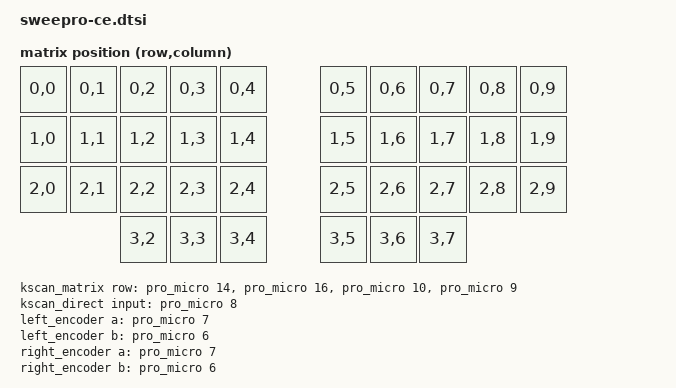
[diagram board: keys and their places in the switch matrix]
/*
 * Copyright (c) 2020 The ZMK Contributors
 *
 * SPDX-License-Identifier: MIT
 */

#include <dt-bindings/zmk/matrix_transform.h>

/ {

	chosen: chosen {
		zmk,battery = &vbatt;
		zmk,kscan = &kscan;
		zmk,matrix_transform = &default_transform;
    zephyr,display = &shield_epd;
	};

	default_transform: keymap_transform_0 {
		compatible = "zmk,matrix-transform";
		columns = <10>;
		rows = <4>;
// | SW1  | SW2  | SW3  | SW4  | SW5  |  | SW5  | SW4  | SW3  | SW2  | SW1  |
// | SW6  | SW7  | SW8  | SW9  | SW10 |  | SW10 | SW9  | SW8  | SW7  | SW6  |
// | SW11 | SW12 | SW13 | SW14 | SW15 |  | SW15 | SW14 | SW13 | SW12 | SW11 |
//               | SW16 | SW17 | SW18 |  | SW18 | SW17 | SW16 |
		map = <
RC(0,0) RC(0,1) RC(0,2) RC(0,3) RC(0,4)  RC(0,5) RC(0,6) RC(0,7) RC(0,8) RC(0,9)
RC(1,0) RC(1,1) RC(1,2) RC(1,3) RC(1,4)  RC(1,5) RC(1,6) RC(1,7) RC(1,8) RC(1,9)
RC(2,0) RC(2,1) RC(2,2) RC(2,3) RC(2,4)  RC(2,5) RC(2,6) RC(2,7) RC(2,8) RC(2,9)
                RC(3,2) RC(3,3) RC(3,4)  RC(3,5) RC(3,6) RC(3,7)
		>;
	};

  // use composite kscan: 1. 34 keys with key matrix; 2. 2 extra keys from encoder with direct connect
	kscan: kscan {
		compatible = "zmk,kscan-composite";
		label = "KSCAN";
		rows = <4>;
		columns = <10>;

		normal_keys {
			kscan = <&kscan_matrix>;
		};

		encoder_keys: encoder_keys {
			kscan = <&kscan_direct>;
      row-offset = <3>;
			// column-offset = <2>;
		};
	};
  
  // 1. scan normal key switches
	kscan_matrix: kscan_matrix {
		compatible = "zmk,kscan-gpio-matrix";
		label = "KSCAN_MATRIX";

		diode-direction = "col2row";
		row-gpios
			= <&pro_micro 14 (GPIO_ACTIVE_HIGH | GPIO_PULL_DOWN)>
			, <&pro_micro 16 (GPIO_ACTIVE_HIGH | GPIO_PULL_DOWN)>
			, <&pro_micro 10 (GPIO_ACTIVE_HIGH | GPIO_PULL_DOWN)>
			, <&pro_micro 9  (GPIO_ACTIVE_HIGH | GPIO_PULL_DOWN)>
			;
	};

  // 2. scan encoder switch
	kscan_direct: kscan_direct {
		compatible = "zmk,kscan-gpio-direct";
		label = "KSCAN_DIRECT";
		input-gpios = <&pro_micro  8 (GPIO_ACTIVE_LOW | GPIO_PULL_UP)>;
	};

  /* encoders */
	left_encoder: encoder_left {
		compatible = "alps,ec11";
    status = "disabled";
		label = "LEFT_ENCODER";
		a-gpios = <&pro_micro 7 (GPIO_ACTIVE_LOW | GPIO_PULL_UP)>;
		b-gpios = <&pro_micro 6 (GPIO_ACTIVE_LOW | GPIO_PULL_UP)>;
		resolution = <2>;
	};

	right_encoder: encoder_right {
		compatible = "alps,ec11";
    status = "disabled";
		label = "RIGHT_ENCODER";
		a-gpios = <&pro_micro 7 (GPIO_ACTIVE_LOW | GPIO_PULL_UP)>;
		b-gpios = <&pro_micro 6 (GPIO_ACTIVE_LOW | GPIO_PULL_UP)>;
		resolution = <2>;
	};

	sensors {
		compatible = "zmk,keymap-sensors";
		sensors = <&left_encoder &right_encoder>;
	};
};

/* display */
&pro_micro_spi {
// &spi2 {
  compatible = "nordic,nrf-spim";
  sck-pin = <17>;
  mosi-pin = <15>;
  cs-gpios = <&gpio0 13 GPIO_ACTIVE_LOW>;
  // not used, but required by spim binding; can be reuesd in the keymap for normal key press
  miso-pin = <10>;

  // activate this device
  status = "okay";

  // spi-device: gooddisplay GDEW0102T4
  shield_epd: il0323@0 {
    compatible = "gooddisplay,il0323";
    reg = <0>;
    label = "DISPLAY";
    spi-max-frequency = <4000000>;

    height = <128>;
    width = <80>;
    reset-gpios = <&gpio0 8  GPIO_ACTIVE_LOW>;
    dc-gpios    = <&gpio0 20 GPIO_ACTIVE_LOW>;
    busy-gpios  = <&gpio0 6  GPIO_ACTIVE_LOW>;
    pwr = [03 00 26 26];
    cdi = <0xd2>;
    tcon = <0x22>;
  }; 
};
